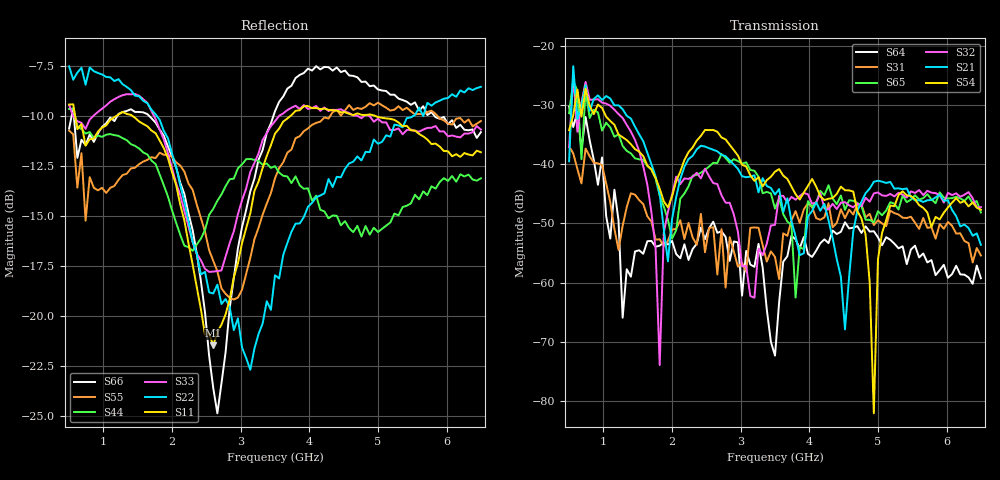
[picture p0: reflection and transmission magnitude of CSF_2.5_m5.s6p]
!Keysight Technologies,M9804A,MY58100912,A.14.10.03
!Date: Thursday, April 27, 2023 10:28:33
!Correction: S11(C  6-Port  )
!S12(C  6-Port  )
!S13(C  6-Port  )
!S14(C  6-Port  )
!S15(C  6-Port  )
!S16(C  6-Port  )
!S21(C  6-Port  )
!S22(C  6-Port  )
!S23(C  6-Port  )
!S24(C  6-Port  )
!S25(C  6-Port  )
!S26(C  6-Port  )
!S31(C  6-Port  )
!S32(C  6-Port  )
!S33(C  6-Port  )
!S34(C  6-Port  )
!S35(C  6-Port  )
!S36(C  6-Port  )
!S41(C  6-Port  )
!S42(C  6-Port  )
!S43(C  6-Port  )
!S44(C  6-Port  )
!S45(C  6-Port  )
!S46(C  6-Port  )
!S51(C  6-Port  )
!S52(C  6-Port  )
!S53(C  6-Port  )
!S54(C  6-Port  )
!S55(C  6-Port  )
!S56(C  6-Port  )
!S61(C  6-Port  )
!S62(C  6-Port  )
!S63(C  6-Port  )
!S64(C  6-Port  )
!S65(C  6-Port  )
!S66(C  6-Port  )
!S6P File: Measurement: :
# Hz S  RI  R 50
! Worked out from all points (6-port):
!   101 points, 500 MHz to 6.5 GHz, reference 50 ohm
!   strongest paths, dB at 500 MHz, 2 GHz, 3.5 GHz, 5 GHz, 6.5 GHz:
!     S54: -34.2, -45.4, -41.2, -56.1, -47.7
!     S21: -39.5, -49.2, -45.1, -42.8, -53.6
!     S32: -37.1, -45.1, -50.2, -44.8, -47.2
!     S65: -31.3, -52.6, -47.5, -47.9, -48.2
!     S31: -37.0, -51.0, -55.7, -49.5, -55.4
!     S64: -30.2, -53.0, -72.3, -52.3, -59.3
!   lowest |S11| = -21.4 dB at 2.6 GHz (marker M1), VSWR 1.19, Z = 42.5 + j2.2 ohm
!   |S11| at or under -10 dB: 589.2 MHz to 1.175 GHz (586.2 MHz wide, 66.4 % of centre); 1.433 GHz to 3.717 GHz (2.284 GHz wide, 88.7 % of centre); 4.979 GHz to end of sweep
